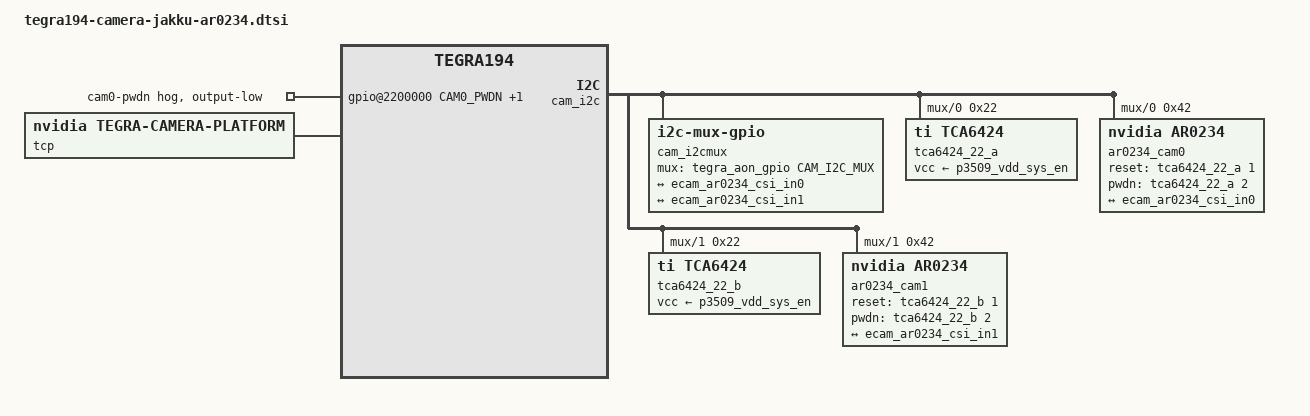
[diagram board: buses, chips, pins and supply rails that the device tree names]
/*
 * Copyright (c) 2018-2020, NVIDIA CORPORATION.  All rights reserved.
 *
 * This program is free software; you can redistribute it and/or modify
 * it under the terms of the GNU General Public License as published by
 * the Free Software Foundation; either version 2 of the License, or
 * (at your option) any later version.
 *
 * This program is distributed in the hope that it will be useful, but WITHOUT
 * ANY WARRANTY; without even the implied warranty of MERCHANTABILITY or
 * FITNESS FOR A PARTICULAR PURPOSE.  See the GNU General Public License for
 * more details.
 *
 * You should have received a copy of the GNU General Public License
 * along with this program.  If not, see <http://www.gnu.org/licenses/>.
 */

#include <dt-bindings/media/camera.h>

#define CAM0_PWDN	TEGRA194_MAIN_GPIO(P, 4)
#define CAM1_PWDN	TEGRA194_MAIN_GPIO(P, 5)
#define CAM_I2C_MUX 	TEGRA194_AON_GPIO(CC, 3)

/* Enable Six overlays in Jetson Xavier NX */

&head0 {
	win-mask = <0x3f>;
};

/ {
	cam_i2cmux{
		compatible = "i2c-mux-gpio";
		status = "okay";
		#address-cells = <1>;
		#size-cells = <0>;
		i2c-parent = <&cam_i2c>;
		mux-gpios = <&tegra_aon_gpio CAM_I2C_MUX GPIO_ACTIVE_HIGH>;
		i2c@0 {
			reg = <0>;
			#address-cells = <1>;
			#size-cells = <0>;
		tca6424_22_a: tca6424@22 {
			    compatible = "ti,tca6424";
			    gpio-controller;
			    #gpio-cells = <2>;
			    reg = <0x22>;
			    vcc-supply = <&p3509_vdd_sys_en>;
			    status = "okay";
			    tca6424_22_outlow {
			    	/*
				 * GPIO-0 : RST_CAM1
				 * GPIO-1 : RST_CAM2
				 * GPIO-2 : RST_CAM3
				 * .... more is there
				 */
				 gpio-hog;
				 gpios = <0 0 1 0 2 0 3 0 4 0 5 0 6 0 7 1>;
				 output-low;
				 label = "tca6424_22_outlow_0",
				         "tca6424_22_outlow_1",
				         "tca6424_22_outlow_2",
				         "tca6424_22_outlow_3",
				         "tca6424_22_outlow_4",
				         "tca6424_22_outlow_5",
				         "tca6424_22_outlow_6",
				         "tca6424_22_outlow_7";
			    };
			    tca6424_22_outhigh {
			            status = "disabled";
			    };
			    tca6424_22_input {
			            status = "disabled";
			    };
			    
			};
			/*
			ecam_ar0234_a@42 {
				reset-gpios = <&tca6424_22_a 0 GPIO_ACTIVE_HIGH>;
				pwdn-gpios  = <&tca6424_22_a 6 GPIO_ACTIVE_HIGH>;
			};
			*/
		};
		i2c@1 {
			reg = <1>;
			#address-cells = <1>;
			#size-cells = <0>;
			tca6424_22_b: tca6424@22 {
			    compatible = "ti,tca6424";
			    gpio-controller;
			    #gpio-cells = <2>;
			    reg = <0x22>;
			    vcc-supply = <&p3509_vdd_sys_en>;
			    status = "okay";
			    tca6424_22_outlow {
			    	/*
				 * GPIO-0 : RST_CAM1
				 * GPIO-1 : RST_CAM2
				 * GPIO-2 : RST_CAM3
				 * .... more is there
				 */
				 gpio-hog;
				 gpios = <0 0 1 0 2 0 3 0 4 0 5 0 6 0 7 1>;
				 output-low;
				 label = "tca6424_22_outlow_0",
				         "tca6424_22_outlow_1",
				         "tca6424_22_outlow_2",
				         "tca6424_22_outlow_3",
				         "tca6424_22_outlow_4",
				         "tca6424_22_outlow_5",
				         "tca6424_22_outlow_6",
				         "tca6424_22_outlow_7";
			    };
			    tca6424_22_outhigh {
			            status = "disabled";
			    };
			    tca6424_22_input {
			            status = "disabled";
			    };
			    
			};
		};
	};

	gpio@2200000 {
		camera-control-output-low {
			gpio-hog;
			output-low;
			gpios = <CAM0_PWDN 0 CAM1_PWDN 0>;
			label = "cam0-pwdn","cam1-pwdn";
		};
	};
};

/ {
	tegra-capture-vi {
			num-channels = <2>;
			ports {
				#address-cells = <1>;
				#size-cells = <0>;
				vi_port0: port@0 {
					reg = <0>;
					ecam_ar0234_vi_in0: endpoint {
						port-index = <0>;
						bus-width = <2>;
						remote-endpoint = <&ecam_ar0234_csi_out0>;
					};
				};
				vi_port1: port@1 {
					reg = <1>;
					ecam_ar0234_vi_in1: endpoint {
						port-index = <2>;
						bus-width = <2>;
						remote-endpoint = <&ecam_ar0234_csi_out1>;
					};
				};
			};
		};
	

	host1x@13e00000{	
		nvcsi@15a00000 {
			num-channels = <2>;
			#address-cells = <1>;
			#size-cells = <0>;
			csi_chan0: channel@0 {
				reg = <0>;
				ports {
					#address-cells = <1>;
					#size-cells = <0>;
					csi_chan0_port0: port@0 {
						reg = <0>;
						ecam_ar0234_csi_in0: endpoint@0 {
							port-index = <0>;
							bus-width = <2>;
							remote-endpoint = <&ecam_ar0234_out0>;
						};
					};
					csi_chan0_port1: port@1 {
						reg = <1>;
						ecam_ar0234_csi_out0: endpoint@1 {
							remote-endpoint = <&ecam_ar0234_vi_in0>;
						};
					};
				};
			};
			csi_chan1: channel@1 {
				reg = <1>;
				ports {
					#address-cells = <1>;
					#size-cells = <0>;
					csi_chan1_port0: port@0 {
						reg = <0>;
						ecam_ar0234_csi_in1: endpoint@2 {
							port-index = <2>;
							bus-width = <2>;
							remote-endpoint = <&ecam_ar0234_out1>;
						};
					};
					csi_chan1_port1: port@1 {
						reg = <1>;
						ecam_ar0234_csi_out1: endpoint@3 {
							remote-endpoint = <&ecam_ar0234_vi_in1>;
						};
					};
				};
			};
		};
	};

	cam_i2cmux {
		i2c_0:i2c@0 {
			ar0234_cam0: ecam_ar0234_a@42 {
				compatible = "nvidia,ar0234";
				/* I2C device address */
				reg = <0x42>;

				/* V4L2 device node location */
				devnode = "video0";
				status = "okay";
				/* Physical dimensions of sensor */
				physical_w = "3.680";
				physical_h = "2.760";

				sensor_model = "ar0234";
				reset-gpios = <&tca6424_22_a 1 GPIO_ACTIVE_HIGH>;
				pwdn-gpios  = <&tca6424_22_a 2 GPIO_ACTIVE_HIGH>;
				//Default use_sensor_mode_id is false
				/*use_sensor_mode_id = "false";*/
				camera_mipi_lanes = <2>;
				camera-mipi-clk = <1200>;
				disable-framesync;

				/**
				* ==== Modes ====
				* A modeX node is required to support v4l2 driver
				* implementation with NVIDIA camera software stack
				*
				* == Signal properties ==
				*
				* phy_mode = "";
				* PHY mode used by the MIPI lanes for this device
				*
				* tegra_sinterface = "";
				* CSI Serial interface connected to tegra
				* Incase of virtual HW devices, use virtual
				* For SW emulated devices, use host
				*
				* pix_clk_hz = "";
				* Sensor pixel clock used for calculations like exposure and framerate
				*
				* readout_orientation = "0";
				* Based on camera module orientation.
				* Only change readout_orientation if you specifically
				* Program a different readout order for this mode
				*
				* == Image format Properties ==
				*
				* active_w = "";
				* Pixel active region width
				*
				* active_h = "";
				* Pixel active region height
				*
				* pixel_t = "";
				* The sensor readout pixel pattern
				*
				* line_length = "";
				* Pixel line length (width) for sensor mode.
				*
				* == Source Control Settings ==
				*
				* Gain factor used to convert fixed point integer to float
				* Gain range [min_gain/gain_factor, max_gain/gain_factor]
				* Gain step [step_gain/gain_factor is the smallest step that can be configured]
				* Default gain [Default gain to be initialized for the control.
				*     use min_gain_val as default for optimal results]
				* Framerate factor used to convert fixed point integer to float
				* Framerate range [min_framerate/framerate_factor, max_framerate/framerate_factor]
				* Framerate step [step_framerate/framerate_factor is the smallest step that can be configured]
				* Default Framerate [Default framerate to be initialized for the control.
				*     use max_framerate to get required performance]
				* Exposure factor used to convert fixed point integer to float
				* For convenience use 1 sec = 1000000us as conversion factor
				* Exposure range [min_exp_time/exposure_factor, max_exp_time/exposure_factor]
				* Exposure step [step_exp_time/exposure_factor is the smallest step that can be configured]
				* Default Exposure Time [Default exposure to be initialized for the control.
				*     Set default exposure based on the default_framerate for optimal exposure settings]
				*
				* gain_factor = ""; (integer factor used for floating to fixed point conversion)
				* min_gain_val = ""; (ceil to integer)
				* max_gain_val = ""; (ceil to integer)
				* step_gain_val = ""; (ceil to integer)
				* default_gain = ""; (ceil to integer)
				* Gain limits for mode
				*
				* exposure_factor = ""; (integer factor used for floating to fixed point conversion)
				* min_exp_time = ""; (ceil to integer)
				* max_exp_time = ""; (ceil to integer)
				* step_exp_time = ""; (ceil to integer)
				* default_exp_time = ""; (ceil to integer)
				* Exposure Time limits for mode (sec)
				*
				* framerate_factor = ""; (integer factor used for floating to fixed point conversion)
				* min_framerate = ""; (ceil to integer)
				* max_framerate = ""; (ceil to integer)
				* step_framerate = ""; (ceil to integer)
				* default_framerate = ""; (ceil to integer)
				* Framerate limits for mode (fps)
				*
				* embedded_metadata_height = "";
				* Sensor embedded metadata height in units of rows.
				* If sensor does not support embedded metadata value should be 0.
				*/
				mode0 { /* AR0234_MODE_1280x720_120FPS */
					mclk_khz = "24000";
					num_lanes = "2";
					tegra_sinterface = "serial_a";
					phy_mode = "DPHY";
					discontinuous_clk = "no";
					dpcm_enable = "false";
					cil_settletime = "0";
					dynamic_pixel_bit_depth = "16";
					csi_pixel_bit_depth = "16";
					mode_type = "yuv";
					
					active_w = "1280";
					active_h = "720";
					/* pixel_t = "uyvy";*/
					pixel_phase = "uyvy";
					readout_orientation = "90";
					line_length = "3448";
					inherent_gain = "1";
					mclk_multiplier = "9.33";
					pix_clk_hz = "182400000";

					min_gain_val = "16";
					max_gain_val = "170"; /* 10.66x */
					step_gain_val = "1";
					default_gain = "16"; /* 1.00x */
					min_hdr_ratio = "1";
					max_hdr_ratio = "1";
					min_framerate = "2000000"; /* 2.0 fps */
					max_framerate = "120000000";
					step_framerate = "1";
					default_framerate = "120000000";
					min_exp_time = "13"; /* us */
					max_exp_time = "683709"; /* us */

					embedded_metadata_height = "0";
				};
				mode1 { /* AR0234_MODE_1920x1080_65FPS */
					mclk_khz = "24000";
					num_lanes = "2";
					tegra_sinterface = "serial_a";
					phy_mode = "DPHY";
					discontinuous_clk = "no";
					dpcm_enable = "false";
					cil_settletime = "0";
					dynamic_pixel_bit_depth = "16";					    
					csi_pixel_bit_depth = "16";
					active_w = "1920";
					active_h = "1080";
					pixel_phase = "uyvy";
					mode_type = "yuv";
					/*pixel_t = "bayer_rggb";*/
					readout_orientation = "90";
					line_length = "3448";
					inherent_gain = "1";
					mclk_multiplier = "9.33";
					pix_clk_hz = "182400000";

					min_gain_val = "16";
					max_gain_val = "170";
					step_gain_val = "1";
					default_gain = "16";
					
					min_hdr_ratio = "1";
					max_hdr_ratio = "1";
					min_framerate = "2000000"; /* 2.0 fps */
					max_framerate = "120000000"; /* 28.0 fps */
					step_framerate = "1";
					default_framerate = "7000000";
					
					min_exp_time = "13";
					max_exp_time = "683709";
					step_exp_time = "1";
					default_exp_time = "2495";

					embedded_metadata_height = "0";
				};
				mode2 { /* AR0234_MODE_1920x1200_60FPS */
					mclk_khz = "24000";
					num_lanes = "2";
					tegra_sinterface = "serial_a";
					phy_mode = "DPHY";
					discontinuous_clk = "no";
					dpcm_enable = "false";
					cil_settletime = "0";
					csi_pixel_bit_depth = "16";
					active_w = "1920";
					active_h = "1200";
					/*pixel_t = "uyvy";*/
					pixel_phase = "uyvy";
					mode_type = "yuv";
					readout_orientation = "90";
					line_length = "3448";
					inherent_gain = "1";
					mclk_multiplier = "9.33";
					pix_clk_hz = "182400000";

					gain_factor = "16";
					framerate_factor = "1000000";
					exposure_factor = "1000000";
					
					min_gain_val = "16";
					max_gain_val = "170"; /* 10.66x */
					step_gain_val = "1";
					default_gain = "16";
					min_hdr_ratio = "1";
					max_hdr_ratio = "1";
					min_framerate = "2000000"; /* 2.0 fps */
					max_framerate = "12000000"; /* 60.0 fps */
					default_framerate = "60000000"; /* 60.0 fps */
					step_framerate = "1";
					min_exp_time = "13"; /* us */
					max_exp_time = "683709"; /* us */
					step_exp_time = "1";
					default_exp_time = "2495";
					embedded_metadata_height = "0";
				};
				ports {
					#address-cells = <1>;
					#size-cells = <0>;
					port@0 {
						reg = <0>;
						ecam_ar0234_out0: endpoint {
							port-index = <0>;
							bus-width = <2>;
							remote-endpoint = <&ecam_ar0234_csi_in0>;
						};
					};
				};
			};
		};
		i2c_1: i2c@1 {
			ar0234_cam1: ecam_ar0234_c@42 {
				compatible = "nvidia,ar0234";
				/* I2C device address */
				reg = <0x42>;

				/* V4L2 device node location */
				devnode = "video1";
				status = "okay";
				/* Physical dimensions of sensor */
				physical_w = "3.680";
				physical_h = "2.760";

				sensor_model = "ar0234";
				camera_mipi_lanes = <2>;
				camera-mipi-clk = <1200>;
				disable-framesync;
				reset-gpios = <&tca6424_22_b 1 GPIO_ACTIVE_HIGH>;
				pwdn-gpios  = <&tca6424_22_b 2 GPIO_ACTIVE_HIGH>;
				// Default use_sensor_mode_id is false
				/*use_sensor_mode_id = "false";*/

				/**
				* ==== Modes ====
				* A modeX node is required to support v4l2 driver
				* implementation with NVIDIA camera software stack
				*
				* == Signal properties ==
				*
				* phy_mode = "";
				* PHY mode used by the MIPI lanes for this device
				*
				* tegra_sinterface = "";
				* CSI Serial interface connected to tegra
				* Incase of virtual HW devices, use virtual
				* For SW emulated devices, use host
				*
				* pix_clk_hz = "";
				* Sensor pixel clock used for calculations like exposure and framerate
				*
				* readout_orientation = "0";
				* Based on camera module orientation.
				* Only change readout_orientation if you specifically
				* Program a different readout order for this mode
				*
				* == Image format Properties ==
				*
				* active_w = "";
				* Pixel active region width
				*
				* active_h = "";
				* Pixel active region height
				*
				* pixel_t = "";
				* The sensor readout pixel pattern
				*
				* line_length = "";
				* Pixel line length (width) for sensor mode.
				*
				* == Source Control Settings ==
				*
				* Gain factor used to convert fixed point integer to float
				* Gain range [min_gain/gain_factor, max_gain/gain_factor]
				* Gain step [step_gain/gain_factor is the smallest step that can be configured]
				* Default gain [Default gain to be initialized for the control.
				*     use min_gain_val as default for optimal results]
				* Framerate factor used to convert fixed point integer to float
				* Framerate range [min_framerate/framerate_factor, max_framerate/framerate_factor]
				* Framerate step [step_framerate/framerate_factor is the smallest step that can be configured]
				* Default Framerate [Default framerate to be initialized for the control.
				*     use max_framerate to get required performance]
				* Exposure factor used to convert fixed point integer to float
				* For convenience use 1 sec = 1000000us as conversion factor
				* Exposure range [min_exp_time/exposure_factor, max_exp_time/exposure_factor]
				* Exposure step [step_exp_time/exposure_factor is the smallest step that can be configured]
				* Default Exposure Time [Default exposure to be initialized for the control.
				*     Set default exposure based on the default_framerate for optimal exposure settings]
				*
				* gain_factor = ""; (integer factor used for floating to fixed point conversion)
				* min_gain_val = ""; (ceil to integer)
				* max_gain_val = ""; (ceil to integer)
				* step_gain_val = ""; (ceil to integer)
				* default_gain = ""; (ceil to integer)
				* Gain limits for mode
				*
				* exposure_factor = ""; (integer factor used for floating to fixed point conversion)
				* min_exp_time = ""; (ceil to integer)
				* max_exp_time = ""; (ceil to integer)
				* step_exp_time = ""; (ceil to integer)
				* default_exp_time = ""; (ceil to integer)
				* Exposure Time limits for mode (sec)
				*
				* framerate_factor = ""; (integer factor used for floating to fixed point conversion)
				* min_framerate = ""; (ceil to integer)
				* max_framerate = ""; (ceil to integer)
				* step_framerate = ""; (ceil to integer)
				* default_framerate = ""; (ceil to integer)
				* Framerate limits for mode (fps)
				*
				* embedded_metadata_height = "";
				* Sensor embedded metadata height in units of rows.
				* If sensor does not support embedded metadata value should be 0.
				*/
				mode0 { /* AR0234_MODE_1280x720_120FPS */
					mclk_khz = "24000";
					num_lanes = "2";
					tegra_sinterface = "serial_a";
					phy_mode = "DPHY";
					discontinuous_clk = "no";
					dpcm_enable = "false";
					cil_settletime = "0";
					dynamic_pixel_bit_depth = "16";
					csi_pixel_bit_depth = "16";
					mode_type = "yuv";
					
					active_w = "1280";
					active_h = "720";
					/* pixel_t = "uyvy";*/
					pixel_phase = "uyvy";
					readout_orientation = "90";
					line_length = "3448";
					inherent_gain = "1";
					mclk_multiplier = "9.33";
					pix_clk_hz = "182400000";

					min_gain_val = "16";
					max_gain_val = "170"; /* 10.66x */
					step_gain_val = "1";
					default_gain = "16"; /* 1.00x */
					min_hdr_ratio = "1";
					max_hdr_ratio = "1";
					min_framerate = "2000000"; /* 2.0 fps */
					max_framerate = "120000000";
					step_framerate = "1";
					default_framerate = "120000000";
					min_exp_time = "13"; /* us */
					max_exp_time = "683709"; /* us */

					embedded_metadata_height = "0";
				};
				mode1 { /* AR0234_MODE_1920x1080_65FPS */
					mclk_khz = "24000";
					num_lanes = "2";
					tegra_sinterface = "serial_a";
					phy_mode = "DPHY";
					discontinuous_clk = "no";
					dpcm_enable = "false";
					cil_settletime = "0";
					dynamic_pixel_bit_depth = "16";					    
					csi_pixel_bit_depth = "16";
					active_w = "1920";
					active_h = "1080";
					pixel_phase = "uyvy";
					mode_type = "yuv";
					/*pixel_t = "bayer_rggb";*/
					readout_orientation = "90";
					line_length = "3448";
					inherent_gain = "1";
					mclk_multiplier = "9.33";
					pix_clk_hz = "182400000";

					min_gain_val = "16";
					max_gain_val = "170";
					step_gain_val = "1";
					default_gain = "16";
					min_hdr_ratio = "1";
					max_hdr_ratio = "1";
					min_framerate = "2000000"; /* 2.0 fps */
					max_framerate = "120000000"; /* 28.0 fps */
					default_framerate = "70000000"; /* 60.0 fps */
					step_framerate = "1";
					
					min_exp_time = "13";
					max_exp_time = "683709";
					step_exp_time = "1";
					default_exp_time = "2495";

					embedded_metadata_height = "0";
				};
				mode2 { /* AR0234_MODE_1920x1200_60FPS */
					mclk_khz = "24000";
					num_lanes = "2";
					tegra_sinterface = "serial_a";
					phy_mode = "DPHY";
					discontinuous_clk = "no";
					dpcm_enable = "false";
					cil_settletime = "0";
					csi_pixel_bit_depth = "16";
					active_w = "1920";
					active_h = "1200";
					/*pixel_t = "uyvy";*/
					pixel_phase = "uyvy";
					mode_type = "yuv";
					readout_orientation = "90";
					line_length = "3448";
					inherent_gain = "1";
					mclk_multiplier = "9.33";
					pix_clk_hz = "182400000";

					gain_factor = "16";
					default_gain = "16";
					step_gain_val = "1";
					framerate_factor = "1000000";
					exposure_factor = "1000000";
					
					min_gain_val = "16";
					max_gain_val = "170"; /* 10.66x */
					min_hdr_ratio = "1";
					max_hdr_ratio = "1";
					min_framerate = "2000000"; /* 2.0 fps */
					max_framerate = "120000000"; /* 60.0 fps */
					default_framerate = "60000000"; /* 60.0 fps */
					step_framerate = "1";
					min_exp_time = "13"; /* us */
					max_exp_time = "683709"; /* us */
					step_exp_time = "1";
					default_exp_time = "2495";
					embedded_metadata_height = "0";
				};


				ports {
					#address-cells = <1>;
					#size-cells = <0>;
					port@0 {
						reg = <0>;
						ecam_ar0234_out1: endpoint {
							status = "okay";
							port-index = <2>;
							bus-width = <2>;
							remote-endpoint = <&ecam_ar0234_csi_in1>;
						};
					};
				};
			};
		};
	};

};

/{
	tcp: tegra-camera-platform {
		compatible = "nvidia, tegra-camera-platform";
		/**
		* Physical settings to calculate max ISO BW
		*
		* num_csi_lanes = <>;
		* Total number of CSI lanes when all cameras are active
		*
		* max_lane_speed = <>;
		* Max lane speed in Kbit/s
		*
		* min_bits_per_pixel = <>;
		* Min bits per pixel
		*
		* vi_peak_byte_per_pixel = <>;
		* Max byte per pixel for the VI ISO case
		*
		* vi_bw_margin_pct = <>;
		* Vi bandwidth margin in percentage
		*
		* max_pixel_rate = <>;
		* Max pixel rate in Kpixel/s for the ISP ISO case
		*
		* isp_peak_byte_per_pixel = <>;
		* Max byte per pixel for the ISP ISO case
		*
		* isp_bw_margin_pct = <>;
		* Isp bandwidth margin in percentage
		*/
		num_csi_lanes = <4>;
		max_lane_speed = <1500000>;
		min_bits_per_pixel = <16>;
		vi_peak_byte_per_pixel = <2>;
		vi_bw_margin_pct = <25>;
		max_pixel_rate = <240000>;
		isp_peak_byte_per_pixel = <5>;
		isp_bw_margin_pct = <25>;

		/**
		 * The general guideline for naming badge_info contains 3 parts, and is as follows,
		 * The first part is the camera_board_id for the module; if the module is in a FFD
		 * platform, then use the platform name for this part.
		 * The second part contains the position of the module, ex. "rear" or "front".
		 * The third part contains the last 6 characters of a part number which is found
		 * in the module's specsheet from the vendor.
		 */
		modules {
			cam_module0: module0 {
				     status = "okay";
				badge = "jakku_front_ar0234";
				position = "front";
				orientation = "1";
				cam_module0_drivernode0: drivernode0 {
					pcl_id = "v4l2_sensor";
					devname = "ar0234 9-0010";
					proc-device-tree = "/proc/device-tree/cam_i2cmux/i2c@0/ecam_ar0234_a@42";
				};
			};
			cam_module1: module1 {
			 	status = "okay";
				badge = "jakku_rear_ar0234";
				position = "rear";
				orientation = "1";
				cam_module1_drivernode0: drivernode0 {
					pcl_id = "v4l2_sensor";
					devname = "ar0234 10-0010";
					proc-device-tree = "/proc/device-tree/cam_i2cmux/i2c@1/ecam_ar0234_c@42";
				};
			};
		};
	};
};
